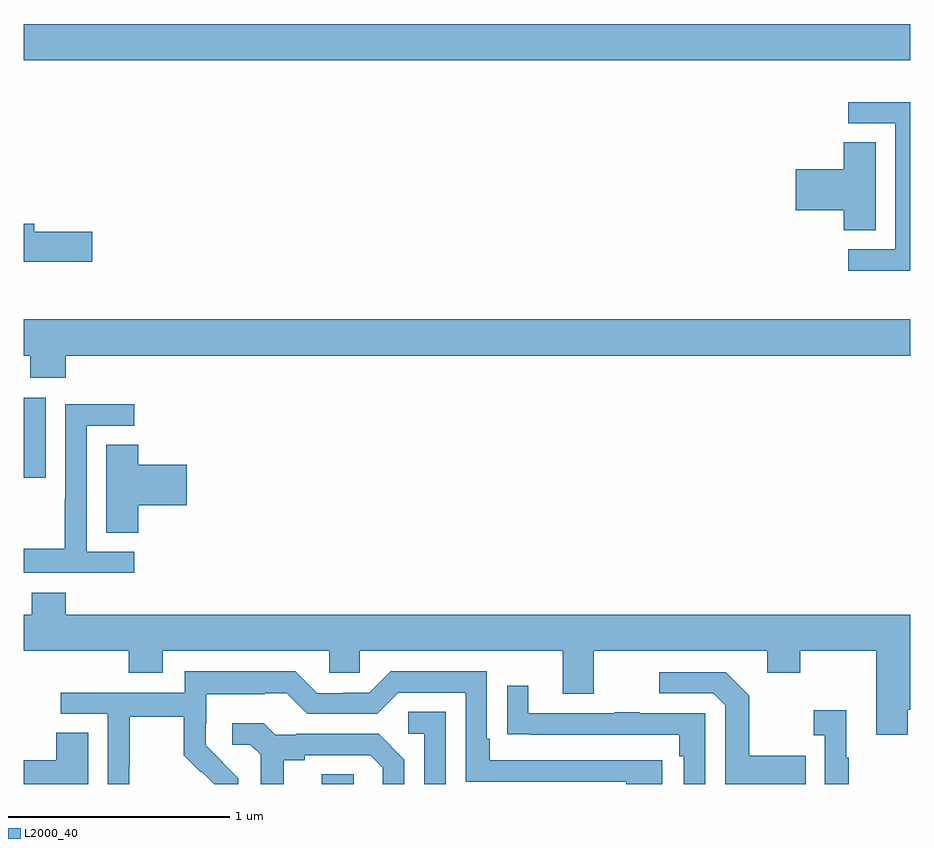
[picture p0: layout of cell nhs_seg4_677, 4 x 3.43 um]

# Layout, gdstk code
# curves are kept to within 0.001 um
import gdstk
lib = gdstk.Library(unit=1e-6, precision=1e-09)
def R(c, l, rs):  # rectangles x0, y0, x1, y1
    for r in rs: c.add(gdstk.rectangle(r[:2], r[2:], *l))
def P(c, l, *ps):  # polygons
    for p in ps: c.add(gdstk.Polygon(p, *l))
L2000_40 = (2000, 40)

nhs_seg4_677 = lib.new_cell('nhs_seg4_677')
R(nhs_seg4_677, L2000_40, [(146.345,782.9,146.49,782.945), (145,784.281,145.099,784.642), (145,786.164,149,786.328)])
P(nhs_seg4_677, L2000_40, [(149,785.976),(148.719,785.976),(148.719,785.88),(148.932,785.88),(148.932,785.313),(148.719,785.313),(148.719,785.215),(149,785.215)],
  [(148.843,785.795),(148.7,785.795),(148.7,785.672),(148.482,785.672),(148.482,785.489),(148.7,785.489),(148.7,785.398),(148.843,785.398)],
  [(145.309,785.39),(145.048,785.39),(145.048,785.426),(145,785.426),(145,785.255),(145.309,785.255)],
  [(145.19,784.832),(149,784.832),(149,784.996),(145,784.996),(145,784.832),(145.03,784.832),(145.03,784.733),(145.19,784.733)],
  [(145.498,783.948),(145.284,783.948),(145.284,784.515),(145.498,784.515),(145.498,784.614),(145.188,784.614),(145.188,784.184),(145.186,784.184),(145.186,783.961),(145,783.961),(145,783.852),(145.498,783.852)],
  [(145.517,784.157),(145.735,784.157),(145.735,784.34),(145.517,784.34),(145.517,784.43),(145.373,784.43),(145.373,784.033),(145.517,784.033)],
  [(148.987,783.235),(149,783.235),(149,783.664),(145.19,783.664),(145.19,783.763),(145.037,783.763),(145.037,783.664),(145,783.664),(145,783.5),(145.475,783.5),(145.475,783.401),(145.627,783.401),(145.627,783.5),(146.379,783.5),(146.379,783.402),(146.517,783.402),(146.517,783.5),(147.431,783.5),(147.431,783.306),(147.571,783.306),(147.571,783.5),(148.355,783.5),(148.355,783.401),(148.503,783.401),(148.503,783.5),(148.847,783.5),(148.847,783.123),(148.987,783.123)],
  [(145.476,782.98),(145.479,782.98),(145.479,783.204),(145.723,783.204),(145.723,783.029),(145.8,782.952),(145.803,782.955),(145.859,782.9),(145.968,782.9),(145.968,782.926),(145.822,783.074),(145.822,783.171),(145.824,783.171),(145.824,783.305),(146.087,783.305),(146.087,783.309),(146.187,783.309),(146.28,783.216),(146.595,783.216),(146.691,783.312),(146.994,783.312),(146.994,782.91),(147.719,782.91),(147.719,782.9),(147.88,782.9),(147.88,783.006),(147.103,783.006),(147.103,783.103),(147.09,783.103),(147.09,783.408),(146.655,783.408),(146.559,783.312),(146.441,783.312),(146.441,783.309),(146.325,783.309),(146.225,783.409),(145.728,783.409),(145.728,783.312),(145.167,783.312),(145.167,783.216),(145.38,783.216),(145.38,782.9),(145.476,782.9)],
  [(148.529,783.027),(148.273,783.027),(148.273,783.299),(148.167,783.405),(147.867,783.405),(147.867,783.309),(148.11,783.309),(148.164,783.255),(148.164,782.9),(148.529,782.9)],
  [(148.074,783.219),(147.779,783.219),(147.779,783.224),(147.667,783.224),(147.667,783.219),(147.277,783.219),(147.277,783.343),(147.181,783.343),(147.181,783.124),(147.283,783.124),(147.283,783.123),(147.958,783.123),(147.958,783.026),(147.978,783.026),(147.978,782.9),(148.074,782.9)],
  [(148.723,783.019),(148.711,783.019),(148.711,783.232),(148.563,783.232),(148.563,783.119),(148.614,783.119),(148.614,782.9),(148.723,782.9)],
  [(146.904,783.227),(146.736,783.227),(146.736,783.126),(146.808,783.126),(146.808,782.9),(146.904,782.9)],
  [(146.173,783.008),(146.269,783.008),(146.269,783.03),(146.564,783.03),(146.621,782.973),(146.621,782.9),(146.718,782.9),(146.718,783.01),(146.602,783.126),(146.23,783.126),(146.23,783.123),(146.136,783.123),(146.084,783.175),(145.941,783.175),(145.941,783.078),(146.022,783.078),(146.069,783.031),(146.069,782.9),(146.173,782.9)],
  [(145.291,783.131),(145.148,783.131),(145.148,783.008),(145,783.008),(145,782.9),(145.291,782.9)])

lib.write_gds('nhs_seg4_677.gds')
